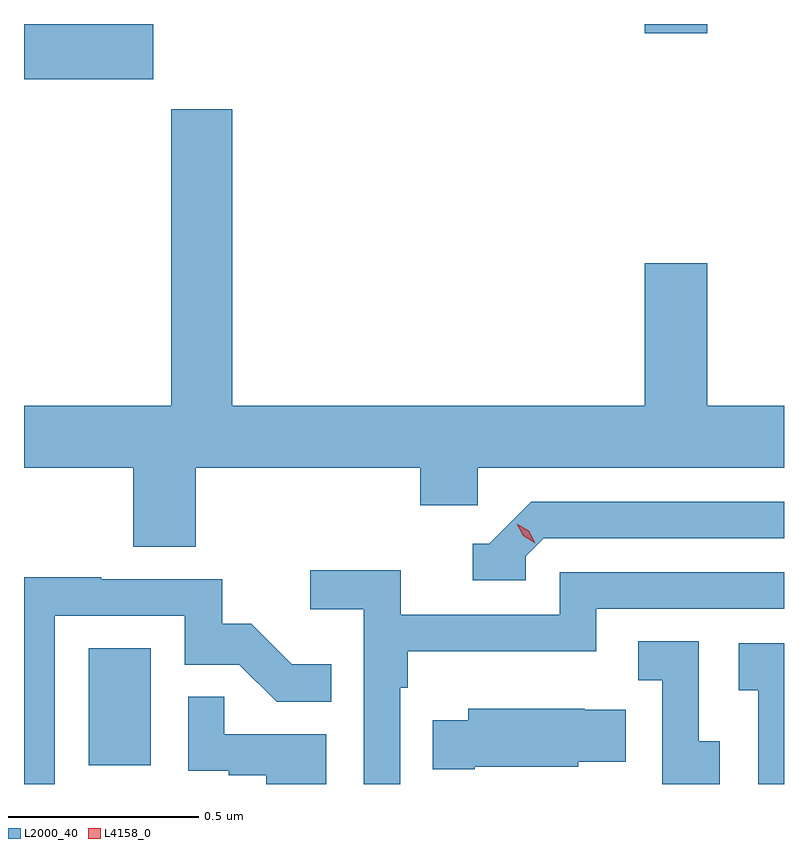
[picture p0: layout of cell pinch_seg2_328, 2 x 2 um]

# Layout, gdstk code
import gdstk
lib = gdstk.Library(unit=1e-6, precision=1e-09)
def R(c, l, rs):  # rectangles x0, y0, x1, y1
    for r in rs: c.add(gdstk.rectangle(r[:2], r[2:], *l))
def P(c, l, *ps):  # polygons
    for p in ps: c.add(gdstk.Polygon(p, *l))
L2000_40 = (2000, 40)
L4158_0 = (4158, 0)

pinch_seg2_328 = lib.new_cell('pinch_seg2_328')
R(pinch_seg2_328, L2000_40, [(906.8,628.206,906.964,628.513), (906.63,630.011,906.97,630.156), (908.264,630.132,908.428,630.156)])
P(pinch_seg2_328, L2000_40, [(906.63,628.988),(906.917,628.988),(906.917,628.78),(907.082,628.78),(907.082,628.988),(907.673,628.988),(907.673,628.89),(907.824,628.89),(907.824,628.988),(908.63,628.988),(908.63,629.152),(908.428,629.152),(908.428,629.527),(908.264,629.527),(908.264,629.152),(907.178,629.152),(907.178,629.932),(907.018,629.932),(907.018,629.152),(906.63,629.152)],
  [(907.95,628.755),(907.998,628.803),(908.63,628.803),(908.63,628.899),(907.965,628.899),(907.854,628.788),(907.811,628.788),(907.811,628.692),(907.95,628.692)],
  [(907.62,628.409),(907.64,628.409),(907.64,628.505),(908.136,628.505),(908.136,628.617),(908.63,628.617),(908.63,628.713),(908.04,628.713),(908.04,628.602),(907.622,628.602),(907.622,628.718),(907.383,628.718),(907.383,628.616),(907.524,628.616),(907.524,628.156),(907.62,628.156)],
  [(906.711,628.599),(907.053,628.599),(907.053,628.47),(907.197,628.47),(907.295,628.372),(907.439,628.372),(907.439,628.471),(907.335,628.471),(907.228,628.578),(907.152,628.578),(907.152,628.695),(906.833,628.695),(906.833,628.7),(906.63,628.7),(906.63,628.156),(906.711,628.156)],
  [(908.461,628.269),(908.406,628.269),(908.406,628.532),(908.247,628.532),(908.247,628.429),(908.31,628.429),(908.31,628.156),(908.461,628.156)],
  [(908.63,628.527),(908.511,628.527),(908.511,628.403),(908.562,628.403),(908.562,628.156),(908.63,628.156)],
  [(907.426,628.287),(907.157,628.287),(907.157,628.385),(907.062,628.385),(907.062,628.191),(907.169,628.191),(907.169,628.179),(907.268,628.179),(907.268,628.156),(907.426,628.156)],
  [(907.816,628.202),(908.088,628.202),(908.088,628.214),(908.213,628.214),(908.213,628.351),(908.105,628.351),(908.105,628.354),(907.799,628.354),(907.799,628.324),(907.705,628.324),(907.705,628.195),(907.816,628.195)])
P(pinch_seg2_328, L4158_0, [(907.975,628.79),(907.944,628.809),(907.927,628.841),(907.927,628.841),(907.927,628.841),(907.958,628.822),(907.975,628.79),(907.975,628.79)])

lib.write_gds('pinch_seg2_328.gds')
